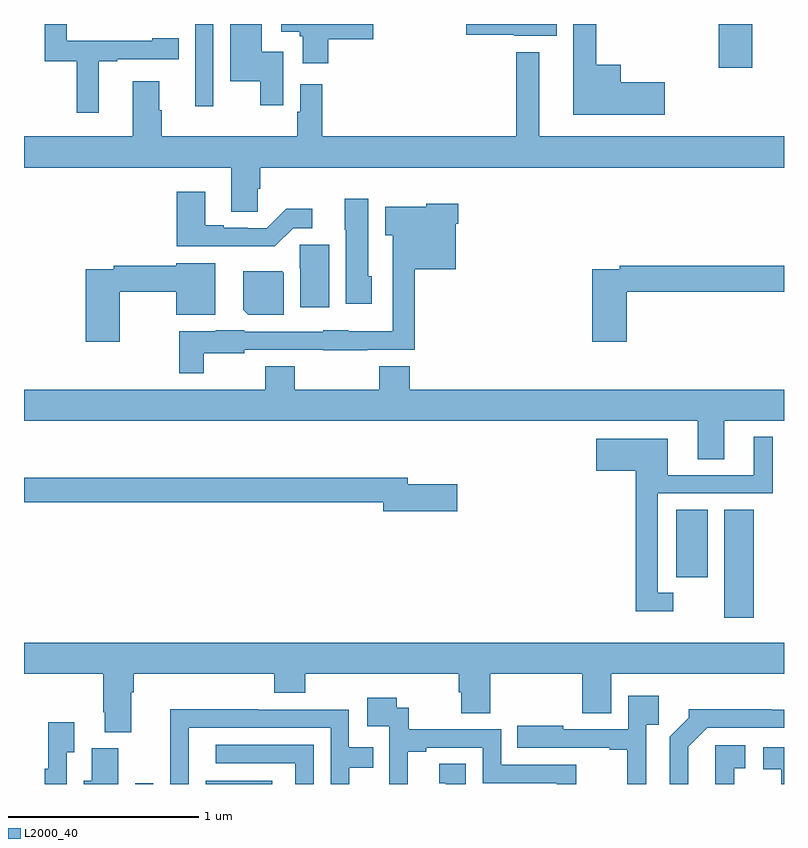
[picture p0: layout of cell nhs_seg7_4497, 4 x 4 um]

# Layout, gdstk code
import gdstk
lib = gdstk.Library(unit=1e-6, precision=1e-09)
def R(c, l, rs):  # rectangles x0, y0, x1, y1
    for r in rs: c.add(gdstk.rectangle(r[:2], r[2:], *l))
def P(c, l, *ps):  # polygons
    for p in ps: c.add(gdstk.Polygon(p, *l))
L2000_40 = (2000, 40)

nhs_seg7_4497 = lib.new_cell('nhs_seg7_4497')
R(nhs_seg7_4497, L2000_40, [(393.585,1036,393.681,1036.003), (393.956,1036,394.306,1036.018), (396.686,1036.875,396.841,1037.444), (396.434,1037.088,396.598,1037.444), (393.9,1039.566,393.996,1040), (396.656,1039.77,396.834,1040)])
P(nhs_seg7_4497, L2000_40, [(393.394,1039.803),(393.49,1039.803),(393.49,1039.815),(393.815,1039.815),(393.815,1039.924),(393.675,1039.924),(393.675,1039.911),(393.225,1039.911),(393.225,1040),(393.109,1040),(393.109,1039.803),(393.277,1039.803),(393.277,1039.533),(393.394,1039.533)],
  [(396.373,1039.694),(396.142,1039.694),(396.142,1039.786),(396.013,1039.786),(396.013,1040),(395.891,1040),(395.891,1039.523),(396.373,1039.523)],
  [(395.803,1040),(395.328,1040),(395.328,1039.943),(395.58,1039.943),(395.58,1039.937),(395.803,1039.937)],
  [(394.365,1039.855),(394.252,1039.855),(394.252,1040),(394.086,1040),(394.086,1039.7),(394.244,1039.7),(394.244,1039.572),(394.365,1039.572)],
  [(394.601,1039.919),(394.837,1039.919),(394.837,1040),(394.353,1040),(394.353,1039.958),(394.452,1039.958),(394.452,1039.935),(394.466,1039.935),(394.466,1039.794),(394.601,1039.794)],
  [(394.23,1039.134),(394.244,1039.134),(394.244,1039.244),(397,1039.244),(397,1039.408),(395.713,1039.408),(395.713,1039.852),(395.592,1039.852),(395.592,1039.408),(394.571,1039.408),(394.571,1039.684),(394.455,1039.684),(394.455,1039.538),(394.439,1039.538),(394.439,1039.408),(393.725,1039.408),(393.725,1039.545),(393.712,1039.545),(393.712,1039.699),(393.572,1039.699),(393.572,1039.408),(393,1039.408),(393,1039.244),(394.091,1039.244),(394.091,1039.012),(394.23,1039.012)],
  [(394.416,1038.924),(394.516,1038.924),(394.516,1039.027),(394.381,1039.027),(394.278,1038.924),(394.178,1038.924),(394.178,1038.927),(394.051,1038.927),(394.051,1038.94),(393.955,1038.94),(393.955,1039.117),(393.803,1039.117),(393.803,1038.83),(394.321,1038.83)],
  [(394.831,1038.672),(394.813,1038.672),(394.813,1039.081),(394.688,1039.081),(394.688,1038.918),(394.694,1038.918),(394.694,1038.528),(394.831,1038.528)],
  [(393.946,1038.266),(394.158,1038.266),(394.158,1038.285),(394.575,1038.285),(394.575,1038.284),(394.807,1038.284),(394.807,1038.285),(395.057,1038.285),(395.057,1038.71),(395.272,1038.71),(395.272,1038.95),(395.285,1038.95),(395.285,1039.054),(395.118,1039.054),(395.118,1039.039),(394.901,1039.039),(394.901,1038.887),(394.941,1038.887),(394.941,1038.382),(394.707,1038.382),(394.707,1038.388),(394.575,1038.388),(394.575,1038.381),(394.158,1038.381),(394.158,1038.388),(394.008,1038.388),(394.008,1038.382),(393.817,1038.382),(393.817,1038.161),(393.946,1038.161)],
  [(394.606,1038.837),(394.45,1038.837),(394.45,1038.714),(394.454,1038.714),(394.454,1038.51),(394.606,1038.51)],
  [(393.504,1038.592),(393.8,1038.592),(393.8,1038.47),(394.006,1038.47),(394.006,1038.742),(393.8,1038.742),(393.8,1038.728),(393.472,1038.728),(393.472,1038.708),(393.326,1038.708),(393.326,1038.327),(393.504,1038.327)],
  [(396.173,1038.592),(397,1038.592),(397,1038.728),(396.136,1038.728),(396.136,1038.708),(395.99,1038.708),(395.99,1038.327),(396.173,1038.327)],
  [(394.366,1038.692),(394.358,1038.7),(394.154,1038.7),(394.154,1038.496),(394.18,1038.47),(394.366,1038.47)],
  [(396.685,1037.912),(397,1037.912),(397,1038.076),(395.03,1038.076),(395.03,1038.2),(394.87,1038.2),(394.87,1038.076),(394.425,1038.076),(394.425,1038.2),(394.27,1038.2),(394.27,1038.076),(393,1038.076),(393,1037.912),(396.545,1037.912),(396.545,1037.71),(396.685,1037.71)],
  [(396.418,1037.007),(396.336,1037.007),(396.336,1037.529),(396.94,1037.529),(396.94,1037.827),(396.842,1037.827),(396.842,1037.625),(396.388,1037.625),(396.388,1037.818),(396.012,1037.818),(396.012,1037.648),(396.22,1037.648),(396.22,1036.91),(396.418,1036.91)],
  [(395.281,1037.577),(395.02,1037.577),(395.02,1037.611),(393,1037.611),(393,1037.482),(394.892,1037.482),(394.892,1037.435),(395.281,1037.435)],
  [(393.565,1036.484),(393.578,1036.484),(393.578,1036.58),(394.316,1036.58),(394.316,1036.481),(394.481,1036.481),(394.481,1036.58),(395.288,1036.58),(395.288,1036.482),(395.3,1036.482),(395.3,1036.372),(395.453,1036.372),(395.453,1036.58),(395.939,1036.58),(395.939,1036.372),(396.091,1036.372),(396.091,1036.58),(397,1036.58),(397,1036.744),(393,1036.744),(393,1036.58),(393.418,1036.58),(393.418,1036.378),(393.425,1036.378),(393.425,1036.273),(393.565,1036.273)],
  [(396.276,1036.313),(396.341,1036.313),(396.341,1036.465),(396.18,1036.465),(396.18,1036.287),(395.839,1036.287),(395.839,1036.306),(395.596,1036.306),(395.596,1036.191),(396.083,1036.191),(396.083,1036.179),(396.175,1036.179),(396.175,1036),(396.276,1036)],
  [(395.02,1036.171),(395.116,1036.171),(395.116,1036.191),(395.415,1036.191),(395.415,1036.005),(395.805,1036.005),(395.805,1036),(395.906,1036),(395.906,1036.101),(395.511,1036.101),(395.511,1036.287),(395.024,1036.287),(395.024,1036.401),(394.962,1036.401),(394.962,1036.453),(394.806,1036.453),(394.806,1036.305),(394.923,1036.305),(394.923,1036.001),(394.922,1036.001),(394.922,1036),(395.02,1036)],
  [(396.496,1036.195),(396.597,1036.296),(397,1036.296),(397,1036.392),(396.932,1036.392),(396.932,1036.394),(396.498,1036.394),(396.498,1036.349),(396.399,1036.25),(396.399,1036),(396.496,1036)],
  [(393.867,1036.296),(394.614,1036.296),(394.614,1036),(394.711,1036),(394.711,1036.086),(394.838,1036.086),(394.838,1036.194),(394.71,1036.194),(394.71,1036.392),(394.232,1036.392),(394.232,1036.394),(393.77,1036.394),(393.77,1036.09),(393.771,1036.09),(393.771,1036),(393.867,1036)],
  [(393.225,1036.168),(393.265,1036.168),(393.265,1036.324),(393.128,1036.324),(393.128,1036.079),(393.109,1036.079),(393.109,1036),(393.225,1036)],
  [(394.524,1036.206),(394.008,1036.206),(394.008,1036.11),(394.428,1036.11),(394.428,1036),(394.524,1036)],
  [(396.738,1036.083),(396.796,1036.083),(396.796,1036.204),(396.638,1036.204),(396.638,1036),(396.738,1036)],
  [(397,1036.194),(396.891,1036.194),(396.891,1036.078),(396.985,1036.078),(396.985,1036),(397,1036)],
  [(393.496,1036.188),(393.356,1036.188),(393.356,1036.018),(393.314,1036.018),(393.314,1036),(393.496,1036)],
  [(395.326,1036.106),(395.186,1036.106),(395.186,1036.003),(395.219,1036.003),(395.219,1036),(395.326,1036)])

lib.write_gds('nhs_seg7_4497.gds')
